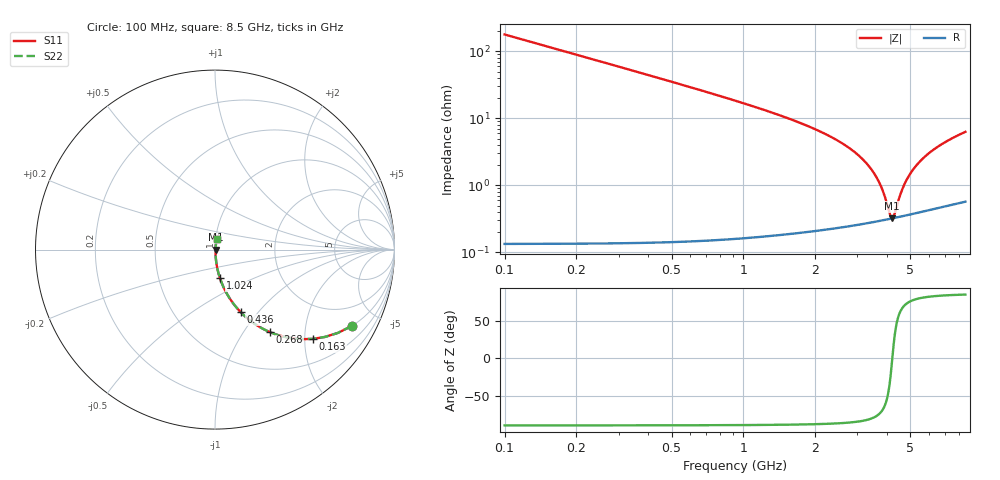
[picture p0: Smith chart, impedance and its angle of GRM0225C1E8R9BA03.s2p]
!Murata Part Number: GRM0225C1E8R9BA03
!These Parameters are Measured in Series Mode Connection
!Data Generated on Mar 30, 2021
!  o--ll--o
!Port1  Port2
!  o------o
!Operation Temp=25[degC], DC Bias Voltage=0[V]
!Freq. Start=100[MHz] Stop=9[GHz] 401[Steps]
# Hz S RI R 50
!Freq.(Hz) S11(Real) S11(Imag) S21(Real) S21(Imag) S12(Real) S12(Imag) S22(Real) S22(Imag)
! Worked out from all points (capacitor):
!   401 points, 100 MHz to 8.5 GHz, reference 50 ohm
!   read as one part in series: C = 8.9 pF near 142 MHz
!   lowest |Z| = 322 mohm at 4.195 GHz (marker M1)
!   series resonance near 4.202 GHz, so ESL is about 160 pH
!   S11 on the Smith chart (normalised r, x): 100 MHz: 1.00, -3.57; 163 MHz: 1.00, -2.19; 268 MHz: 1.00, -1.33; 436 MHz: 1.00, -0.81; 1.024 GHz: 1.00, -0.33; 8.5 GHz: 1.01, +0.13
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1e8  0.7614 -0.4259  0.2386 0.4259  0.2386 0.4259  0.7614 -0.4259
1.63e8  0.5454 -0.4973  0.4546 0.4973  0.4546 0.4973  0.5454 -0.4973
2.68e8  0.3066 -0.4601  0.6934 0.4601  0.6934 0.4601  0.3066 -0.4601
3.52e8  0.2034 -0.4012  0.7966 0.4012  0.7966 0.4012  0.2034 -0.4012
4.36e8  0.1421 -0.3474  0.8579 0.3474  0.8579 0.3474  0.1421 -0.3474
6.67e8  0.065 -0.2437  0.935 0.2437  0.935 0.2437  0.065 -0.2437
1.024e9  0.0277 -0.1591  0.9723 0.1591  0.9723 0.1591  0.0277 -0.1591
1.507e9  0.0123 -0.1015  0.9877 0.1015  0.9877 0.1015  0.0123 -0.1015
2.914e9  0.00351 -0.0314  0.9965 0.0314  0.9965 0.0314  0.00351 -0.0314
3.313e9  0.00313 -0.0201  0.9969 0.0201  0.9969 0.0201  0.00313 -0.0201
3.628e9  0.00305 -0.0123  0.997 0.0123  0.997 0.0123  0.00305 -0.0123
3.859e9  0.00307 -0.00712  0.9969 0.00712  0.9969 0.00712  0.00307 -0.00712
4.111e9  0.00316 -0.00183  0.9968 0.00183  0.9968 0.00183  0.00316 -0.00183
4.195e9  0.00321 -0.000147  0.9968 0.000147  0.9968 0.000147  0.00321 -0.000147
4.3e9  0.00327 0.00191  0.9967 -0.00191  0.9967 -0.00191  0.00327 0.00191
4.573e9  0.00347 0.00703  0.9965 -0.00703  0.9965 -0.00703  0.00347 0.00703
4.846e9  0.00372 0.0119  0.9963 -0.0119  0.9963 -0.0119  0.00372 0.0119
5.224e9  0.00413 0.0182  0.9959 -0.0182  0.9959 -0.0182  0.00413 0.0182
5.707e9  0.00475 0.0256  0.9953 -0.0256  0.9953 -0.0256  0.00475 0.0256
6.337e9  0.00567 0.0347  0.9943 -0.0347  0.9943 -0.0347  0.00567 0.0347
7.114e9  0.00695 0.045  0.993 -0.045  0.993 -0.045  0.00695 0.045
8.5e9  0.00954 0.0618  0.9905 -0.0618  0.9905 -0.0618  0.00954 0.0618
